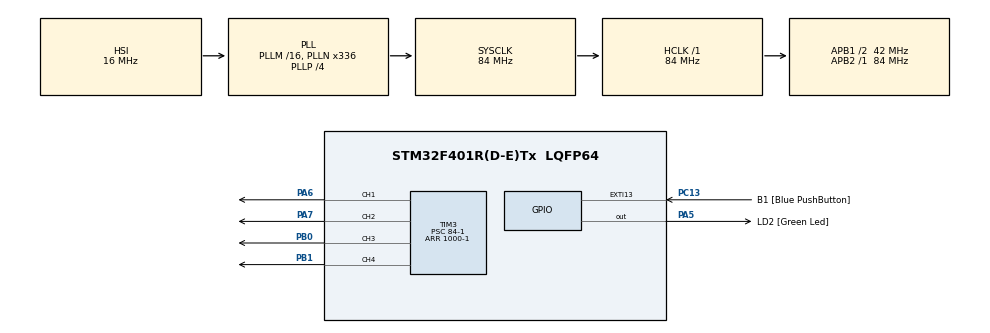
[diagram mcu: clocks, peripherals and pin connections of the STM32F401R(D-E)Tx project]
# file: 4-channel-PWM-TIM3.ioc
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IWDG.Prescaler=IWDG_PRESCALER_256
IWDG.Reload=1249
Mcu.Family=STM32F4
Mcu.Name=STM32F401R(D-E)Tx
Mcu.Package=LQFP64
NVIC.PriorityGroup=NVIC_PRIORITYGROUP_4
NVIC.TIM2_IRQn=true\:0\:0\:false\:false\:true\:true\:true\:true
PA13.GPIO_Label=TMS
PA13.Mode=Trace_Asynchronous_SW
PA13.Signal=SYS_JTMS-SWDIO
PA14.GPIO_Label=TCK
PA14.Mode=Trace_Asynchronous_SW
PA14.Signal=SYS_JTCK-SWCLK
PA5.GPIO_Label=LD2 [Green Led]
PA5.GPIO_Mode=GPIO_MODE_OUTPUT_PP
PA5.GPIO_PuPd=GPIO_NOPULL
PA5.GPIO_Speed=GPIO_SPEED_FREQ_LOW
PA5.Signal=GPIO_Output
PA6.Signal=S_TIM3_CH1
PA7.Signal=S_TIM3_CH2
PB0.Signal=S_TIM3_CH3
PB1.Signal=S_TIM3_CH4
PB3.GPIO_Label=SWO
PB3.Mode=Trace_Asynchronous_SW
PB3.Signal=SYS_JTDO-SWO
PC13-ANTI_TAMP.GPIO_Label=B1 [Blue PushButton]
PC13-ANTI_TAMP.GPIO_ModeDefaultEXTI=GPIO_MODE_IT_FALLING
PC13-ANTI_TAMP.GPIO_PuPd=GPIO_NOPULL
PC13-ANTI_TAMP.Signal=GPXTI13
PC14-OSC32_IN.Mode=LSE-External-Oscillator
PC14-OSC32_IN.Signal=RCC_OSC32_IN
PC15-OSC32_OUT.Mode=LSE-External-Oscillator
PC15-OSC32_OUT.Signal=RCC_OSC32_OUT
PH0\ -\ OSC_IN.Mode=HSE-External-Clock-Source
PH0\ -\ OSC_IN.Signal=RCC_OSC_IN
PH1\ -\ OSC_OUT.Mode=HSE-External-Clock-Source
PH1\ -\ OSC_OUT.Signal=RCC_OSC_OUT
ProjectManager.HeapSize=0x200
ProjectManager.StackSize=0x400
ProjectManager.TargetToolchain=STM32CubeIDE
RCC.48MHZClocksFreq_Value=48000000
RCC.AHBFreq_Value=84000000
RCC.APB1CLKDivider=RCC_HCLK_DIV2
RCC.APB1Freq_Value=42000000
RCC.APB1TimFreq_Value=84000000
RCC.APB2Freq_Value=84000000
RCC.APB2TimFreq_Value=84000000
RCC.CortexFreq_Value=84000000
RCC.HCLKFreq_Value=84000000
RCC.HSE_VALUE=8000000
RCC.HSI_VALUE=16000000
RCC.PLLN=336
RCC.PLLP=RCC_PLLP_DIV4
RCC.PLLQ=7
RCC.SYSCLKFreq_VALUE=84000000
RCC.SYSCLKSource=RCC_SYSCLKSOURCE_PLLCLK
RCC.VCOOutputFreq_Value=336000000
SH.S_TIM3_CH1.0=TIM3_CH1,PWM Generation1 CH1
SH.S_TIM3_CH2.0=TIM3_CH2,PWM Generation2 CH2
SH.S_TIM3_CH3.0=TIM3_CH3,PWM Generation3 CH3
SH.S_TIM3_CH4.0=TIM3_CH4,PWM Generation4 CH4
TIM2.AutoReloadPreload=TIM_AUTORELOAD_PRELOAD_ENABLE
TIM2.Period=10000-1
TIM2.Prescaler=84-1
TIM3.Channel-PWM\ Generation1\ CH1=TIM_CHANNEL_1
TIM3.Channel-PWM\ Generation2\ CH2=TIM_CHANNEL_2
TIM3.Channel-PWM\ Generation3\ CH3=TIM_CHANNEL_3
TIM3.Channel-PWM\ Generation4\ CH4=TIM_CHANNEL_4
TIM3.Period=1000-1
TIM3.Prescaler=84-1
VP_IWDG_VS_IWDG.Mode=IWDG_Activate
VP_TIM2_VS_ClockSourceINT.Mode=Internal
VP_TIM3_VS_ClockSourceINT.Mode=Internal
board=NUCLEO-F401RE

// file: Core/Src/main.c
/* USER CODE BEGIN Header */
/**
  ******************************************************************************
  * @file           : main.c
  * @brief          : Main program body
  ******************************************************************************
  * @attention
  *
  * Copyright (c) 2026 STMicroelectronics.
  * All rights reserved.
  *
  * This software is licensed under terms that can be found in the LICENSE file
  * in the root directory of this software component.
  * If no LICENSE file comes with this software, it is provided AS-IS.
  *
  ******************************************************************************
  */
/* USER CODE END Header */
#include "main.h"

IWDG_HandleTypeDef hiwdg;

TIM_HandleTypeDef htim2;
TIM_HandleTypeDef htim3;
uint16_t counter= 0;
uint16_t ledstatus= 1;
static uint16_t duty = 0;
static int dir = 1;

void SystemClock_Config(void);
static void MX_GPIO_Init(void);
static void MX_IWDG_Init(void);
static void MX_TIM2_Init(void);
static void MX_TIM3_Init(void);

int main(void)
{

  /* MCU Configuration--------------------------------------------------------*/

  /* Reset of all peripherals, Initializes the Flash interface and the Systick. */
  HAL_Init();

  /* Configure the system clock */
  SystemClock_Config();

  /* Initialize all configured peripherals */
  MX_GPIO_Init();
  MX_IWDG_Init();
  MX_TIM2_Init();
  MX_TIM3_Init();
  /* USER CODE BEGIN 2 */

  HAL_TIM_PWM_Start(&htim3, TIM_CHANNEL_1);
  HAL_TIM_PWM_Start(&htim3, TIM_CHANNEL_2);
  HAL_TIM_PWM_Start(&htim3, TIM_CHANNEL_3);
  HAL_TIM_PWM_Start(&htim3, TIM_CHANNEL_4);

  HAL_TIM_Base_Start_IT(&htim2);
  /* USER CODE END 2 */

  /* Infinite loop */
  /* USER CODE BEGIN WHILE */
  while (1)
  {
	  HAL_IWDG_Refresh(&hiwdg); // this refreshes the watchdog timer
    /* USER CODE END WHILE */

  }
}

void SystemClock_Config(void)
{
  RCC_OscInitTypeDef RCC_OscInitStruct = {0};
  RCC_ClkInitTypeDef RCC_ClkInitStruct = {0};

  /** Configure the main internal regulator output voltage
  */
  __HAL_RCC_PWR_CLK_ENABLE();
  __HAL_PWR_VOLTAGESCALING_CONFIG(PWR_REGULATOR_VOLTAGE_SCALE2);

  /** Initializes the RCC Oscillators according to the specified parameters
  * in the RCC_OscInitTypeDef structure.
  */
  RCC_OscInitStruct.OscillatorType = RCC_OSCILLATORTYPE_HSI|RCC_OSCILLATORTYPE_LSI;
  RCC_OscInitStruct.HSIState = RCC_HSI_ON;
  RCC_OscInitStruct.HSICalibrationValue = RCC_HSICALIBRATION_DEFAULT;
  RCC_OscInitStruct.LSIState = RCC_LSI_ON;
  RCC_OscInitStruct.PLL.PLLState = RCC_PLL_ON;
  RCC_OscInitStruct.PLL.PLLSource = RCC_PLLSOURCE_HSI;
  RCC_OscInitStruct.PLL.PLLM = 16;
  RCC_OscInitStruct.PLL.PLLN = 336;
  RCC_OscInitStruct.PLL.PLLP = RCC_PLLP_DIV4;
  RCC_OscInitStruct.PLL.PLLQ = 7;
  if (HAL_RCC_OscConfig(&RCC_OscInitStruct) != HAL_OK)
  {
    Error_Handler();
  }

  /** Initializes the CPU, AHB and APB buses clocks
  */
  RCC_ClkInitStruct.ClockType = RCC_CLOCKTYPE_HCLK|RCC_CLOCKTYPE_SYSCLK
                              |RCC_CLOCKTYPE_PCLK1|RCC_CLOCKTYPE_PCLK2;
  RCC_ClkInitStruct.SYSCLKSource = RCC_SYSCLKSOURCE_PLLCLK;
  RCC_ClkInitStruct.AHBCLKDivider = RCC_SYSCLK_DIV1;
  RCC_ClkInitStruct.APB1CLKDivider = RCC_HCLK_DIV2;
  RCC_ClkInitStruct.APB2CLKDivider = RCC_HCLK_DIV1;

  if (HAL_RCC_ClockConfig(&RCC_ClkInitStruct, FLASH_LATENCY_2) != HAL_OK)
  {
    Error_Handler();
  }
}

static void MX_IWDG_Init(void)
{

  hiwdg.Instance = IWDG;
  hiwdg.Init.Prescaler = IWDG_PRESCALER_256;
  hiwdg.Init.Reload = 1249;
  if (HAL_IWDG_Init(&hiwdg) != HAL_OK)
  {
    Error_Handler();
  }

}

static void MX_TIM2_Init(void)
{

  TIM_ClockConfigTypeDef sClockSourceConfig = {0};
  TIM_MasterConfigTypeDef sMasterConfig = {0};

  htim2.Instance = TIM2;
  htim2.Init.Prescaler = 84-1;
  htim2.Init.CounterMode = TIM_COUNTERMODE_UP;
  htim2.Init.Period = 10000-1;
  htim2.Init.ClockDivision = TIM_CLOCKDIVISION_DIV1;
  htim2.Init.AutoReloadPreload = TIM_AUTORELOAD_PRELOAD_ENABLE;
  if (HAL_TIM_Base_Init(&htim2) != HAL_OK)
  {
    Error_Handler();
  }
  sClockSourceConfig.ClockSource = TIM_CLOCKSOURCE_INTERNAL;
  if (HAL_TIM_ConfigClockSource(&htim2, &sClockSourceConfig) != HAL_OK)
  {
    Error_Handler();
  }
  sMasterConfig.MasterOutputTrigger = TIM_TRGO_RESET;
  sMasterConfig.MasterSlaveMode = TIM_MASTERSLAVEMODE_DISABLE;
  if (HAL_TIMEx_MasterConfigSynchronization(&htim2, &sMasterConfig) != HAL_OK)
  {
    Error_Handler();
  }

}

static void MX_TIM3_Init(void)
{

  TIM_ClockConfigTypeDef sClockSourceConfig = {0};
  TIM_MasterConfigTypeDef sMasterConfig = {0};
  TIM_OC_InitTypeDef sConfigOC = {0};

  htim3.Instance = TIM3;
  htim3.Init.Prescaler = 84-1;
  htim3.Init.CounterMode = TIM_COUNTERMODE_UP;
  htim3.Init.Period = 1000-1;
  htim3.Init.ClockDivision = TIM_CLOCKDIVISION_DIV1;
  htim3.Init.AutoReloadPreload = TIM_AUTORELOAD_PRELOAD_DISABLE;
  if (HAL_TIM_Base_Init(&htim3) != HAL_OK)
  {
    Error_Handler();
  }
  sClockSourceConfig.ClockSource = TIM_CLOCKSOURCE_INTERNAL;
  if (HAL_TIM_ConfigClockSource(&htim3, &sClockSourceConfig) != HAL_OK)
  {
    Error_Handler();
  }
  if (HAL_TIM_PWM_Init(&htim3) != HAL_OK)
  {
    Error_Handler();
  }
  sMasterConfig.MasterOutputTrigger = TIM_TRGO_RESET;
  sMasterConfig.MasterSlaveMode = TIM_MASTERSLAVEMODE_DISABLE;
  if (HAL_TIMEx_MasterConfigSynchronization(&htim3, &sMasterConfig) != HAL_OK)
  {
    Error_Handler();
  }
  sConfigOC.OCMode = TIM_OCMODE_PWM1;
  sConfigOC.Pulse = 0;
  sConfigOC.OCPolarity = TIM_OCPOLARITY_HIGH;
  sConfigOC.OCFastMode = TIM_OCFAST_DISABLE;
  if (HAL_TIM_PWM_ConfigChannel(&htim3, &sConfigOC, TIM_CHANNEL_1) != HAL_OK)
  {
    Error_Handler();
  }
  if (HAL_TIM_PWM_ConfigChannel(&htim3, &sConfigOC, TIM_CHANNEL_2) != HAL_OK)
  {
    Error_Handler();
  }
  if (HAL_TIM_PWM_ConfigChannel(&htim3, &sConfigOC, TIM_CHANNEL_3) != HAL_OK)
  {
    Error_Handler();
  }
  if (HAL_TIM_PWM_ConfigChannel(&htim3, &sConfigOC, TIM_CHANNEL_4) != HAL_OK)
  {
    Error_Handler();
  }
  HAL_TIM_MspPostInit(&htim3);

}

static void MX_GPIO_Init(void)
{
  GPIO_InitTypeDef GPIO_InitStruct = {0};

  /* GPIO Ports Clock Enable */
  __HAL_RCC_GPIOC_CLK_ENABLE();
  __HAL_RCC_GPIOH_CLK_ENABLE();
  __HAL_RCC_GPIOA_CLK_ENABLE();
  __HAL_RCC_GPIOB_CLK_ENABLE();

  /*Configure GPIO pin Output Level */
  HAL_GPIO_WritePin(LD2_GPIO_Port, LD2_Pin, GPIO_PIN_RESET);

  /*Configure GPIO pin : B1_Pin */
  GPIO_InitStruct.Pin = B1_Pin;
  GPIO_InitStruct.Mode = GPIO_MODE_IT_FALLING;
  GPIO_InitStruct.Pull = GPIO_NOPULL;
  HAL_GPIO_Init(B1_GPIO_Port, &GPIO_InitStruct);

  /*Configure GPIO pin : LD2_Pin */
  GPIO_InitStruct.Pin = LD2_Pin;
  GPIO_InitStruct.Mode = GPIO_MODE_OUTPUT_PP;
  GPIO_InitStruct.Pull = GPIO_NOPULL;
  GPIO_InitStruct.Speed = GPIO_SPEED_FREQ_LOW;
  HAL_GPIO_Init(LD2_GPIO_Port, &GPIO_InitStruct);

}

/* USER CODE BEGIN 4 */
void HAL_TIM_PeriodElapsedCallback(TIM_HandleTypeDef *htim)
{
  if (htim->Instance == TIM2)
  {
	counter++;
	if(counter > 19 && ledstatus == 1){
    	counter= 0;
    	HAL_GPIO_TogglePin(LD2_GPIO_Port, LD2_Pin);	 // example: toggle LED
    }
    if (HAL_GPIO_ReadPin(B1_GPIO_Port, B1_Pin) == GPIO_PIN_RESET)
        {
    		while(1){

    		}
        }

    duty += dir * 10;

    if (duty >= 1000) {
        duty = 1000;
        dir = -1;
    }
    if (duty == 0) {
        dir = 1;
    }

    __HAL_TIM_SET_COMPARE(&htim3, TIM_CHANNEL_1, duty);
    __HAL_TIM_SET_COMPARE(&htim3, TIM_CHANNEL_2, 1000 - duty);
    __HAL_TIM_SET_COMPARE(&htim3, TIM_CHANNEL_3, duty / 2);
    __HAL_TIM_SET_COMPARE(&htim3, TIM_CHANNEL_4, 500 - (duty / 2));
  }
}
/* USER CODE END 4 */

void Error_Handler(void)
{
  __disable_irq();
  while (1)
  {
  }
}
